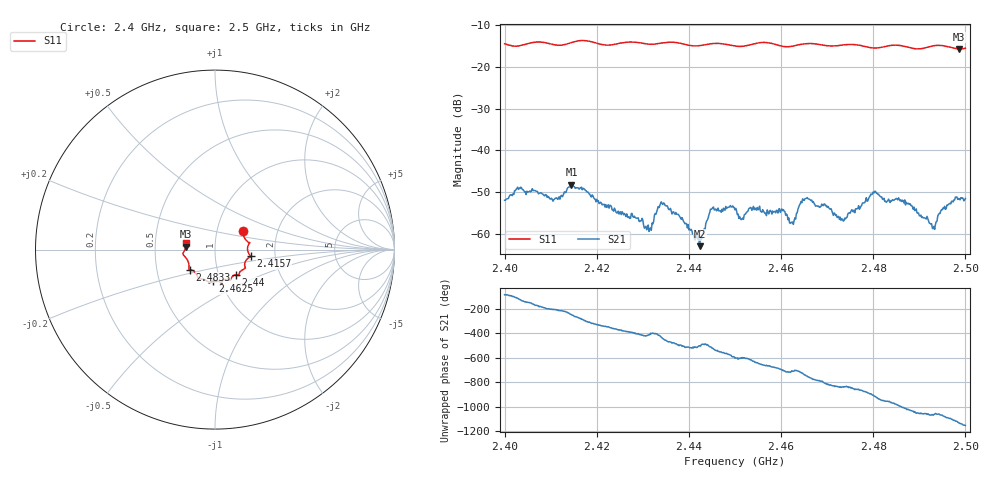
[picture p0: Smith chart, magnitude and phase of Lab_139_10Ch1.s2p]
# Hz S RI R 50
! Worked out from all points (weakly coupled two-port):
!   601 points, 2.4 GHz to 2.5 GHz, reference 50 ohm
!   highest |S21| = -48.19 dB at 2.4145 GHz (marker M1); lowest = -62.9 dB at 2.4423 GHz (marker M2)
!   lowest |S11| = -15.7 dB at 2.4987 GHz (marker M3), VSWR 1.39, Z = 36 + j1.18 ohm
!   |S11| at or under -10 dB: start of sweep to end of sweep
!   S12 and S22 are empty: the file has one direction only
!   S11 on the Smith chart (normalised r, x): 2.4 GHz: 1.34, +0.29; 2.4157 GHz: 1.49, -0.12; 2.44 GHz: 1.21, -0.35; 2.4625 GHz: 0.92, -0.34; 2.4833 GHz: 0.74, -0.17; 2.5 GHz: 0.72, +0.06
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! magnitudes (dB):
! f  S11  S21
! 2.4 GHz  -14.5  -51.9
! 2.4032 GHz  -15.0  -49.0
! 2.411 GHz  -14.8  -51.5
! 2.4145 GHz  -14.2  -48.2
! 2.4157 GHz  -13.8  -49.0
! 2.4167 GHz  -13.7  -48.8
! 2.4313 GHz  -14.6  -59.4
! 2.4333 GHz  -14.4  -53.4
! 2.44 GHz  -14.8  -59.0
! 2.4423 GHz  -14.9  -62.9
! 2.445 GHz  -14.4  -54.0
! 2.45 GHz  -15.0  -54.2
! 2.46 GHz  -15.0  -54.5
! 2.4625 GHz  -15.0  -57.1
! 2.4647 GHz  -14.6  -51.6
! 2.4667 GHz  -14.4  -51.9
! 2.4735 GHz  -14.8  -56.9
! 2.48 GHz  -15.5  -49.9
! 2.4833 GHz  -15.0  -51.7
! 2.493 GHz  -15.0  -58.7
! 2.4987 GHz  -15.7  -51.6
! 2.5 GHz  -15.6  -51.5
